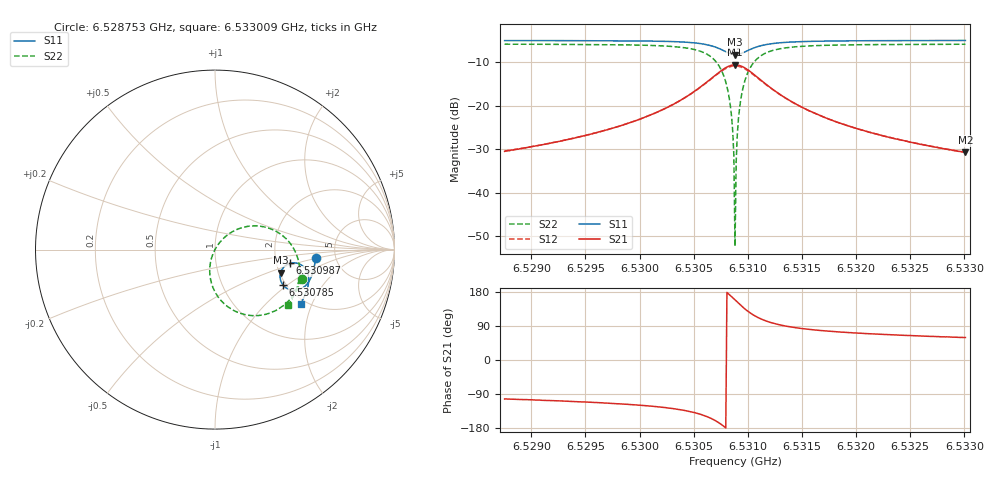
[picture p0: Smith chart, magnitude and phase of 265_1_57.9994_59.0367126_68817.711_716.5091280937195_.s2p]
#  HZ  S  RI  R  50.00
! Rohde & Schwarz Vector Network Analyzer
! Rohde-Schwarz,ZNB20-2Port,1311601062101988,3.16
! Created: UTC 3/21/2024, 1:02:08 AM
! freq[Hz]  re:S11  im:S11  re:S21  im:S21  re:S12  im:S12  re:S22  im:S22
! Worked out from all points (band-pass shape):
!   401 points, 6.528753 GHz to 6.533009 GHz, reference 50 ohm
!   highest |S21| = -10.57 dB at 6.530881 GHz (marker M1); lowest = -30.7 dB at 6.533009 GHz (marker M2)
!   |S21| within 3 dB of the highest: 6.530668 GHz to 6.531095 GHz (426.6 kHz wide, 0.00653 % of centre)
!   lowest |S11| = -8.2 dB at 6.530881 GHz (marker M3), VSWR 2.27, Z = 101 - j30.8 ohm
!   |S11| at or under -10 dB: nowhere
!   |S22| runs from -52.2 to -5.8 dB; largest |S21 - S12| = 0.012
!   S11 on the Smith chart (normalised r, x): 6.528753 GHz: 3.50, -0.48; 6.530785 GHz: 1.92, -0.92; 6.530987 GHz: 2.38, -0.44; 6.533009 GHz: 1.87, -1.65
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6.5287529e9  0.5601 -0.0466  -0.0067 -0.0293  -0.00722 -0.0293  0.4841 -0.1637
6.5294658e9  0.5511 -0.1058  -0.0158 -0.0419  -0.0167 -0.0416  0.4535 -0.228
6.5301787e9  0.5242 -0.176  -0.0483 -0.0718  -0.0502 -0.0706  0.3741 -0.3172
6.5306044e9  0.4556 -0.2263  -0.1525 -0.0974  -0.1547 -0.0912  0.174 -0.3635
6.5307108e9  0.4121 -0.2219  -0.2197 -0.0721  -0.2191 -0.0629  0.0605 -0.3101
6.5307853e9  0.3779 -0.1959  -0.2694 -0.0154  -0.2641 -0.0059  -0.0133 -0.2064
6.5308172e9  0.3673 -0.1766  -0.2825 0.0218  -0.2749 0.0304  -0.0284 -0.1425
6.5308385e9  0.3635 -0.1615  -0.2859 0.05  -0.2769 0.0572  -0.0285 -0.0955
6.5308491e9  0.3626 -0.1536  -0.2854 0.0647  -0.276 0.0709  -0.0253 -0.0718
6.5308598e9  0.3628 -0.1452  -0.2837 0.0794  -0.2737 0.0849  -0.0196 -0.0478
6.5308704e9  0.3638 -0.1371  -0.2802 0.094  -0.2702 0.0987  -0.0116 -0.0246
6.530881e9  0.3656 -0.129  -0.2757 0.1083  -0.2653 0.1121  -0.00127 -0.0021
6.5308917e9  0.3684 -0.1211  -0.2695 0.1221  -0.2592 0.1248  0.0113 0.0193
6.5309023e9  0.3718 -0.1137  -0.2619 0.1351  -0.2517 0.137  0.0259 0.0393
6.530913e9  0.376 -0.1067  -0.2533 0.1474  -0.2433 0.1483  0.042 0.0576
6.5309342e9  0.3866 -0.0945  -0.2333 0.1684  -0.2239 0.1679  0.0786 0.0883
6.5309874e9  0.4185 -0.0765  -0.1751 0.1996  -0.1685 0.1969  0.1799 0.1291
6.5310619e9  0.4598 -0.0764  -0.1023 0.2019  -0.0988 0.1992  0.3016 0.1188
6.5311683e9  0.4963 -0.0979  -0.0396 0.1725  -0.0378 0.1708  0.4028 0.0537
6.531594e9  0.5221 -0.1766  0.0147 0.0834  0.0158 0.0831  0.4717 -0.1329
6.5323069e9  0.5036 -0.2487  0.0171 0.0399  0.0179 0.0396  0.4429 -0.2473
6.5330092e9  0.477 -0.3011  0.0149 0.0251  0.0155 0.025  0.4076 -0.3072
